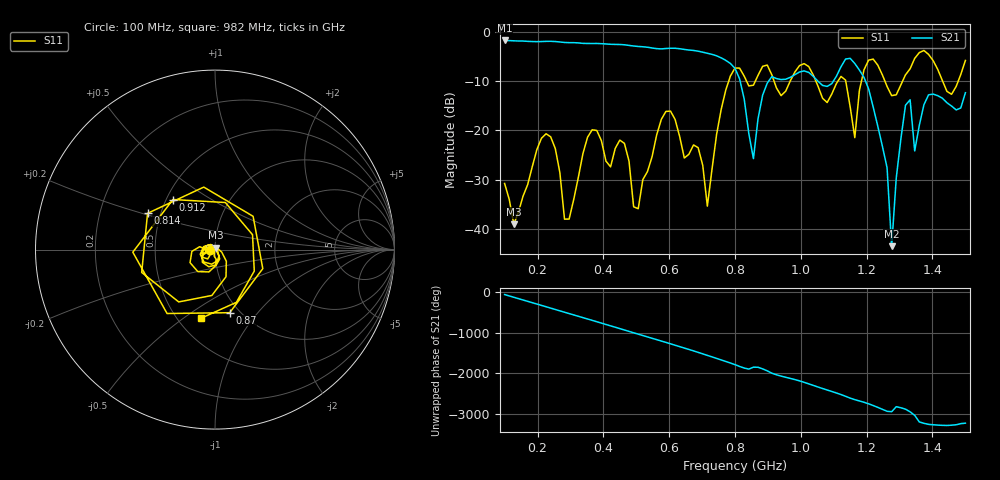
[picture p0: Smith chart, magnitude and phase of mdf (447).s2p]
! NanoVNA-App
! Date: 2025-09-25 15:41:54
! Start: 100MHz Stop: 1,5GHz Points: 101
! S-Parameter data: F S11 S21 S12 S22
# Hz S RI R 50
!  Frequency  S11_Real  S11_Imag  S21_Real  S21_Imag  S12_Real  S12_Imag  S22_Real  S22_Imag
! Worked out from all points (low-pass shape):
!   101 points, 100 MHz to 1.5 GHz, reference 50 ohm
!   highest |S21| = -1.80 dB at 100 MHz (marker M1); lowest = -43.4 dB at 1.276 GHz (marker M2)
!   |S21| within 3 dB of the highest: start of sweep to 739.1 MHz
!   lowest |S11| = -39.0 dB at 128 MHz (marker M3), VSWR 1.02, Z = 50.3 + j1.08 ohm
!   |S11| at or under -10 dB: start of sweep to 781.1 MHz; 1.046 GHz to 1.113 GHz (67.54 MHz wide, 6.26 % of centre); 1.255 GHz to 1.309 GHz (54.11 MHz wide, 4.22 % of centre) (the widest 3 of 7)
!   S12 and S22 are empty: the file has one direction only
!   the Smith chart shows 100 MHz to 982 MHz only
!   S11 on the Smith chart (normalised r, x): 100 MHz: 0.94, -0.01; 814 MHz: 0.42, +0.21; 870 MHz: 0.90, -0.73; 912 MHz: 0.54, +0.35; 982 MHz: 0.65, -0.59
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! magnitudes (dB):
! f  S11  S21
! 100 MHz  -30.7  -1.8
! 128 MHz  -39.0  -1.9
! 212 MHz  -21.6  -2.0
! 282 MHz  -38.0  -2.2
! 338 MHz  -24.7  -2.4
! 464 MHz  -22.6  -2.7
! 506 MHz  -35.8  -3.0
! 576 MHz  -17.8  -3.5
! 716 MHz  -35.3  -4.4
! 800 MHz  -7.4  -7.4
! 814 MHz  -7.4  -9.6
! 856 MHz  -10.9  -25.7
! 870 MHz  -8.9  -17.6
! 912 MHz  -8.8  -9.1
! 982 MHz  -8.2  -8.7
! 1.038 GHz  -8.8  -9.1
! 1.164 GHz  -21.5  -6.5
! 1.192 GHz  -7.7  -9.3
! 1.262 GHz  -11.1  -27.5
! 1.276 GHz  -13.0  -43.4
! 1.318 GHz  -8.8  -14.9
! 1.5 GHz  -5.9  -12.4
